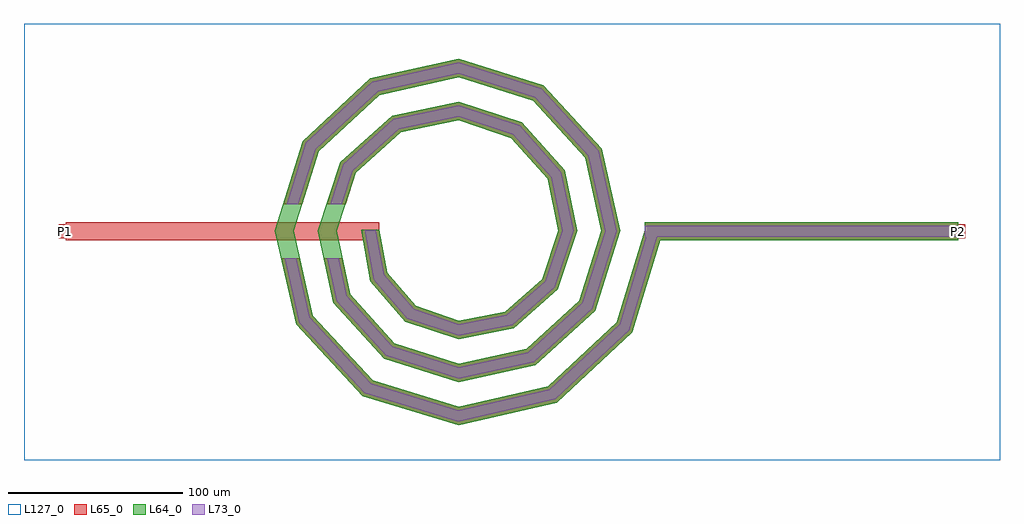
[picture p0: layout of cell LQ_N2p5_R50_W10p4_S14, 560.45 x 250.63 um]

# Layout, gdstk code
import gdstk
lib = gdstk.Library(unit=1e-6, precision=1e-09)
def R(c, l, rs):  # rectangles x0, y0, x1, y1
    for r in rs: c.add(gdstk.rectangle(r[:2], r[2:], *l))
def P(c, l, *ps):  # polygons
    for p in ps: c.add(gdstk.Polygon(p, *l))
L64_0 = (64, 0)
L65_0 = (65, 0)
L73_0 = (73, 0)
L127_0 = (127, 0)

lq_n2p5_r50_w10p4_s14 = lib.new_cell('LQ_N2p5_R50_W10p4_S14')
R(lq_n2p5_r50_w10p4_s14, L64_0, [(107.077,-5.2,287.077,5.2)])
P(lq_n2p5_r50_w10p4_s14, L64_0, [(-40.733,-23.97),(-24.332,-42.898),(0.364,-51.373),(27.018,-46.095),(48.221,-27.449),(57.541,0.328),(51.454,30.074),(30.56,53.547),(0.299,63.709),(-33.134,56.81),(-58.877,33.667),(-69.879,0.274),(-62.164,-36.199),(-36.77,-64.209),(0.254,-76.048),(39.266,-67.517),(69.542,-39.871),(82.217,0.236),(72.868,42.336),(42.97,74.877),(0.22,88.387),(-45.408,78.219),(-80.213,46.067),(-94.557,0.207),(-83.568,-48.482),(-49.163,-85.55),(0.195,-100.726),(51.557,-88.917),(90.888,-52.258),(107.304,1.518),(117.251,-1.518),(100.02,-57.963),(56.607,-98.428),(0.195,-111.487),(-54.887,-94.67),(-93.09,-53.511),(-105.317,0.207),(-89.32,51.813),(-50.415,87.752),(0.22,99.146),(48.74,83.969),(82.416,47.317),(92.975,0.236),(78.617,-45.668),(44.217,-77.08),(0.254,-86.805),(-42.599,-73.263),(-71.746,-41.114),(-80.633,0.274),(-67.908,39.532),(-38.008,66.413),(0.299,74.462),(36.469,62.551),(61.082,34.899),(68.291,0.328),(57.19,-33.41),(31.784,-55.753),(0.364,-62.118),(-30.357,-51.826),(-50.428,-28.662),(-55.684,0.97),(-45.466,0.97)])
R(lq_n2p5_r50_w10p4_s14, L65_0, [(-225.375,-5.2,-45.375,5.2), (107.077,-5.2,287.077,5.2), (-229.375,-4,-221.375,4), (283.077,-4,291.077,4)])
P(lq_n2p5_r50_w10p4_s14, L65_0, [(-83.568,-48.482),(-49.163,-85.55),(0.195,-100.727),(51.557,-88.917),(90.888,-52.258),(107.304,1.518),(117.251,-1.518),(100.02,-57.963),(56.607,-98.428),(0.195,-111.487),(-54.887,-94.67),(-93.09,-53.512),(-101.719,-15.6),(-91.053,-15.6)],
  [(-62.164,-36.199),(-36.771,-64.209),(0.254,-76.048),(39.266,-67.517),(69.542,-39.871),(82.217,0.236),(72.868,42.336),(42.97,74.877),(0.22,88.387),(-45.408,78.219),(-80.213,46.067),(-89.657,15.6),(-100.545,15.6),(-89.32,51.813),(-50.415,87.752),(0.22,99.146),(48.74,83.969),(82.416,47.317),(92.975,0.236),(78.617,-45.668),(44.217,-77.08),(0.254,-86.805),(-42.599,-73.264),(-71.746,-41.114),(-77.225,-15.6),(-66.588,-15.6)],
  [(-24.332,-42.898),(0.364,-51.373),(27.018,-46.095),(48.221,-27.449),(57.541,0.328),(51.454,30.074),(30.56,53.547),(0.299,63.71),(-33.134,56.81),(-58.877,33.667),(-64.733,15.6),(-75.666,15.6),(-67.908,39.532),(-38.008,66.413),(0.299,74.462),(36.469,62.551),(61.082,34.899),(68.291,0.328),(57.19,-33.41),(31.784,-55.753),(0.364,-62.118),(-30.357,-51.826),(-50.428,-28.662),(-55.684,0.97),(-45.467,0.97),(-40.733,-23.97)])
R(lq_n2p5_r50_w10p4_s14, L73_0, [(107.077,-3.2,287.077,3.2)])
P(lq_n2p5_r50_w10p4_s14, L73_0, [(-85.399,-49.449),(-50.264,-87.304),(0.12,-102.796),(52.528,-90.746),(92.644,-53.355),(109.217,0.934),(115.338,0.934),(98.264,-56.866),(55.636,-96.599),(0.12,-109.418),(-53.786,-92.916),(-91.259,-52.544),(-99.668,-15.6),(-93.104,-15.6)],
  [(-64.007,-37.144),(-37.891,-65.95),(0.156,-78.117),(40.218,-69.356),(71.287,-40.986),(84.286,0.145),(74.704,43.294),(44.08,76.625),(0.136,90.456),(-46.371,80.052),(-81.964,47.172),(-91.751,15.6),(-98.451,15.6),(-87.569,50.708),(-49.452,85.919),(0.136,97.077),(47.63,82.221),(80.58,46.359),(90.907,0.145),(76.872,-44.554),(43.265,-75.241),(0.156,-84.736),(-41.478,-71.522),(-69.903,-40.169),(-75.179,-15.6),(-68.633,-15.6)],
  [(-25.49,-44.615),(0.224,-53.439),(27.935,-47.952),(49.946,-28.595),(59.608,0.202),(53.305,31.002),(31.696,55.279),(0.184,65.777),(-34.072,58.657),(-60.614,34.795),(-66.836,15.6),(-73.563,15.6),(-66.171,38.404),(-37.071,64.566),(0.184,72.394),(35.333,60.819),(59.23,33.971),(66.223,0.202),(55.465,-32.264),(30.868,-53.896),(0.224,-60.052),(-29.198,-50.109),(-48.564,-27.76),(-53.719,0.597),(-47.431,0.597),(-42.598,-24.872)])
R(lq_n2p5_r50_w10p4_s14, L127_0, [(-249.375,-131.487,311.077,119.146)])
lq_n2p5_r50_w10p4_s14.add(gdstk.Label('P2', (287.077,0), layer=65, texttype=0))
lq_n2p5_r50_w10p4_s14.add(gdstk.Label('P1', (-225.375,0), layer=65, texttype=0))
lq_n2p5_r50_w10p4_s14.add(gdstk.Label('P2', (291.077,0), layer=145, texttype=0))
lq_n2p5_r50_w10p4_s14.add(gdstk.Label('P1', (-229.375,0), layer=145, texttype=0))

lib.write_gds('LQ_N2p5_R50_W10p4_S14.gds')
